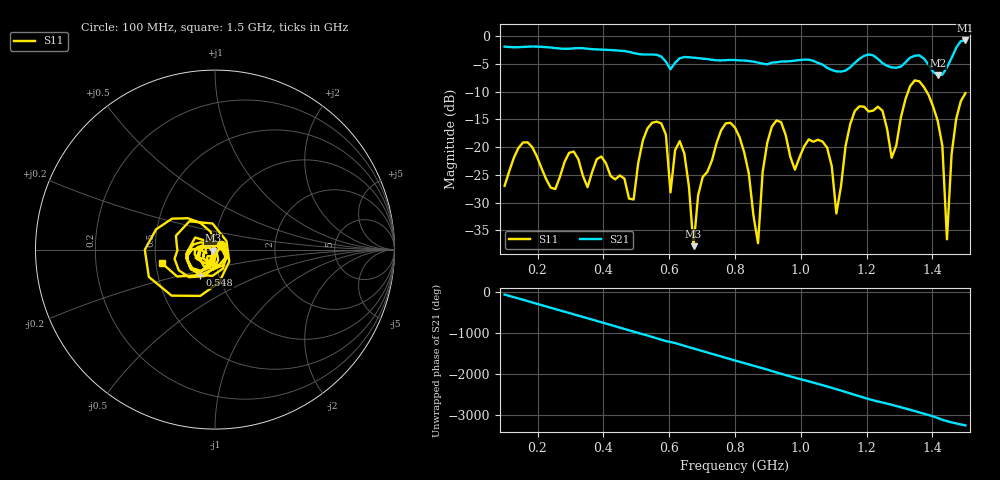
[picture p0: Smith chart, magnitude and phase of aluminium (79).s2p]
! NanoVNA-App
! Date: 2025-09-26 09:58:40
! Start: 100MHz Stop: 1,5GHz Points: 101
! S-Parameter data: F S11 S21 S12 S22
# Hz S RI R 50
!  Frequency  S11_Real  S11_Imag  S21_Real  S21_Imag  S12_Real  S12_Imag  S22_Real  S22_Imag
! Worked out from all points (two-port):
!   101 points, 100 MHz to 1.5 GHz, reference 50 ohm
!   highest |S21| = -0.80 dB at 1.5 GHz (marker M1); lowest = -7.1 dB at 1.416 GHz (marker M2)
!   |S21| within 3 dB of the highest: start of sweep to 577.4 MHz; 1.186 GHz to 1.227 GHz (40.62 MHz wide, 3.37 % of centre) (the widest 2 of 5)
!   lowest |S11| = -37.9 dB at 674 MHz (marker M3), VSWR 1.03, Z = 48.9 - j0.603 ohm
!   |S11| at or under -10 dB: start of sweep to 1.326 GHz; 1.382 GHz to end of sweep
!   S12 and S22 are empty: the file has one direction only
!   S11 on the Smith chart (normalised r, x): 100 MHz: 1.07, +0.06; 548 MHz: 0.81, -0.24; 1.5 GHz: 0.54, -0.09
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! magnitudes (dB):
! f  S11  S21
! 100 MHz  -27.0  -1.9
! 156 MHz  -19.2  -2.0
! 338 MHz  -25.2  -2.2
! 492 MHz  -29.4  -3.1
! 548 MHz  -15.6  -3.3
! 576 MHz  -15.7  -3.7
! 604 MHz  -28.2  -6.0
! 646 MHz  -21.2  -3.8
! 674 MHz  -37.9  -3.9
! 702 MHz  -25.4  -4.1
! 800 MHz  -16.5  -4.3
! 870 MHz  -37.3  -4.8
! 912 MHz  -16.3  -4.8
! 1.038 GHz  -19.0  -4.5
! 1.108 GHz  -32.0  -6.4
! 1.178 GHz  -12.7  -4.1
! 1.276 GHz  -21.9  -5.7
! 1.346 GHz  -8.0  -3.6
! 1.416 GHz  -15.3  -7.1
! 1.444 GHz  -36.6  -5.7
! 1.458 GHz  -21.4  -4.0
! 1.5 GHz  -10.3  -0.8
